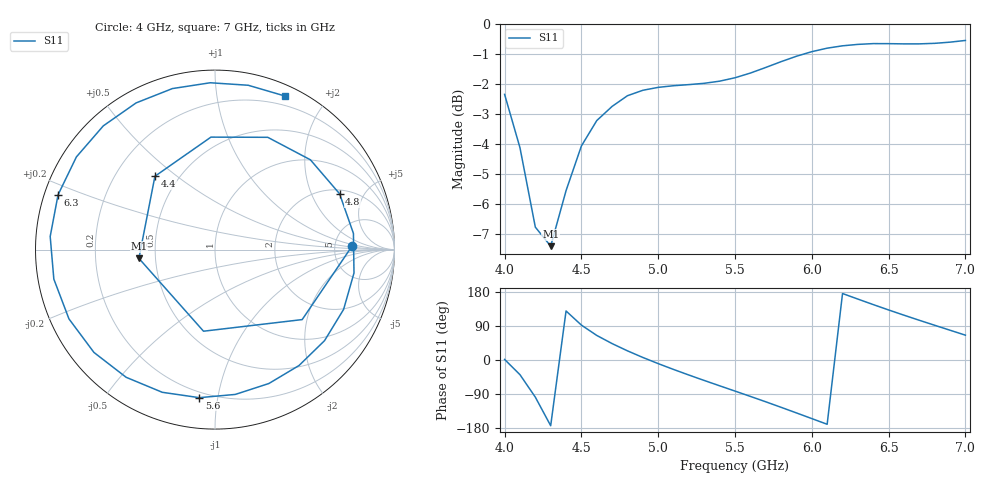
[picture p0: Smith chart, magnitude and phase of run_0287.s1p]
! Touchstone file exported from HFSS 2024.2.0
!  File:  C:/Users/wsak9/Desktop/Sim Fast/Widenad Patch/WP_AI_V1_sweep.aedt
!  Generated:  03:06:32 AM Oct 14, 2026
!  Design:  A1_model
!  Project:  WP_AI_V1_sweep
!  Setup:  Setup1
!  Solution:  Sweep
! Variables:
!  Air_gap = 4.75mm
!  Curve_Amp1 = 0.84
!  Curve_len1 = 1
!  Curve_pos = 13.255mm
!  Extra = 6.83mm
!  H_sub = 0.79mm
!  L_Patch = 22.51mm
!  L_Patch1 = 15.25mm
!  Sx = 0.56mm
!  Sy = 2.8mm
!  WS = 1.25mm
!  W_Patch = 20.37mm
!  W_Patch1 = 8.42mm
!Data is not renormalized
# GHz S MA
! Terminal data exported
! Port[1] = 1
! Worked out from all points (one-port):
!   31 points, 4 GHz to 7 GHz, reference per port
!   lowest |S11| = -7.4 dB at 4.3 GHz (marker M1), VSWR 2.49
!   |S11| at or under -10 dB: nowhere
!   S11 on the Smith chart (normalised r, x): 4 GHz: 7.42, +0.72; 4.4 GHz: 0.37, +0.42; 4.8 GHz: 2.21, +3.27; 5.6 GHz: 0.17, -0.89; 6.3 GHz: 0.04, +0.17; 7 GHz: 0.10, +1.55
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4  0.7644 1.5
4.1  0.6229 -38.8
4.2  0.4591 -98.0
4.3  0.4268 -173.4
4.4  0.5282 129.3
4.5  0.627 92.1
4.6  0.6912 64.8
4.7  0.73 43.3
4.8  0.7605 24.2
4.9  0.7765 6.7
5  0.7853 -9.6
5.1  0.7902 -24.9
5.2  0.7936 -39.7
5.4  0.8042 -68.1
5.5  0.8148 -82.0
5.6  0.8296 -96.0
5.7  0.8476 -110.3
5.8  0.8667 -124.8
5.9  0.8849 -139.6
6  0.9006 -154.6
6.1  0.9128 -169.6
6.2  0.9211 175.4
6.3  0.9262 160.7
6.5  0.9288 132.1
6.6  0.928 118.3
6.7  0.928 104.8
6.8  0.9299 91.6
7  0.9402 65.5
